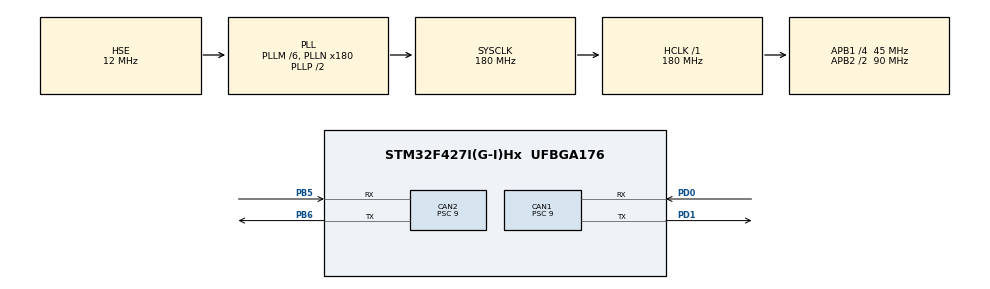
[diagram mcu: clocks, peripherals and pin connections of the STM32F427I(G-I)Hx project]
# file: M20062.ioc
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CAN1.ABOM=ENABLE
CAN1.BS1=CAN_BS1_2TQ
CAN1.BS2=CAN_BS2_2TQ
CAN1.CalculateBaudRate=1000000
CAN1.CalculateTimeBit=1000
CAN1.CalculateTimeQuantum=200.0
CAN1.Prescaler=9
CAN2.BS1=CAN_BS1_2TQ
CAN2.BS2=CAN_BS2_2TQ
CAN2.CalculateBaudRate=1000000
CAN2.CalculateTimeBit=1000
CAN2.CalculateTimeQuantum=200.0
CAN2.Prescaler=9
Mcu.Family=STM32F4
Mcu.Name=STM32F427I(G-I)Hx
Mcu.Package=UFBGA176
NVIC.CAN1_RX0_IRQn=true\:0\:0\:false\:false\:true\:true\:true\:true
NVIC.CAN1_RX1_IRQn=true\:0\:0\:false\:false\:true\:true\:true\:true
NVIC.PriorityGroup=NVIC_PRIORITYGROUP_4
NVIC.TIM2_IRQn=true\:0\:0\:false\:false\:true\:true\:true\:true
PA13.Mode=Serial_Wire
PA13.Signal=SYS_JTMS-SWDIO
PA14.Mode=Serial_Wire
PA14.Signal=SYS_JTCK-SWCLK
PB5.Mode=CAN_Activate
PB5.Signal=CAN2_RX
PB6.Mode=CAN_Activate
PB6.Signal=CAN2_TX
PD0.Mode=CAN_Activate
PD0.Signal=CAN1_RX
PD1.Mode=CAN_Activate
PD1.Signal=CAN1_TX
PH0/OSC_IN.Mode=HSE-External-Oscillator
PH0/OSC_IN.Signal=RCC_OSC_IN
PH1/OSC_OUT.Mode=HSE-External-Oscillator
PH1/OSC_OUT.Signal=RCC_OSC_OUT
ProjectManager.HeapSize=0x200
ProjectManager.StackSize=0x400
ProjectManager.TargetToolchain=STM32CubeIDE
RCC.48MHZClocksFreq_Value=90000000
RCC.AHBFreq_Value=180000000
RCC.APB1CLKDivider=RCC_HCLK_DIV4
RCC.APB1Freq_Value=45000000
RCC.APB1TimFreq_Value=90000000
RCC.APB2CLKDivider=RCC_HCLK_DIV2
RCC.APB2Freq_Value=90000000
RCC.APB2TimFreq_Value=180000000
RCC.CortexFreq_Value=180000000
RCC.HCLKFreq_Value=180000000
RCC.HSE_VALUE=12000000
RCC.HSI_VALUE=16000000
RCC.LSE_VALUE=32768
RCC.PLLM=6
RCC.PLLN=180
RCC.PLLSourceVirtual=RCC_PLLSOURCE_HSE
RCC.SYSCLKFreq_VALUE=180000000
RCC.SYSCLKSource=RCC_SYSCLKSOURCE_PLLCLK
RCC.VCOOutputFreq_Value=360000000
TIM2.Period=1000-1
TIM2.Prescaler=180-1
VP_TIM2_VS_ClockSourceINT.Mode=Internal
board=custom

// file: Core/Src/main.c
/* USER CODE BEGIN Header */
/**
  ******************************************************************************
  * @file           : main.c
  * @brief          : Main program body
  ******************************************************************************
  * @attention
  *
  * Copyright (c) 2024 STMicroelectronics.
  * All rights reserved.
  *
  * This software is licensed under terms that can be found in the LICENSE file
  * in the root directory of this software component.
  * If no LICENSE file comes with this software, it is provided AS-IS.
  *
  ******************************************************************************
  */
#define LIMIT_MIN_MAX(x,min,max) (x) = (((x)<=(min))?(min):(((x)>=(max))?(max):(x)))
/* USER CODE END Header */
#include "main.h"
#include "can.h"
#include "tim.h"
#include "gpio.h"

/* USER CODE BEGIN Includes */
#include "Bsp_can.h"
#include "pid.h"
/* USER CODE END Includes */

/* USER CODE BEGIN PV */
extern moto_info_t motor_info[MOTOR_MAX_NUM];
pid_struct_t motor_pid[7];
int target_speed[5];
int target_position[5];
int desired_speed[5]={10,10,10,10,10};
int last_angle[5];
int overflowNum[5] = {0,0,0,0,0};
int angle_sum[5];
pid_struct_t ver_pid[7];
pid_struct_t pos_pid[7];
/* USER CODE END PV */

void SystemClock_Config(void);

int main(void)
{

  /* MCU Configuration--------------------------------------------------------*/

  /* Reset of all peripherals, Initializes the Flash interface and the Systick. */
  HAL_Init();

  /* Configure the system clock */
  SystemClock_Config();

  /* Initialize all configured peripherals */
  MX_GPIO_Init();
  MX_CAN1_Init();
  MX_TIM2_Init();
  MX_CAN2_Init();
  /* USER CODE BEGIN 2 */
can_dual_init(&hcan1, &hcan2);

HAL_TIM_Base_Start_IT(&htim2);
//target_position = (motor_info[3].rotor_angle *(360.0/8191.0))/36;
  /* USER CODE END 2 */

  /* Infinite loop */
  /* USER CODE BEGIN WHILE */
  while (1)
  {

//	  set_motor_current(0x200, 0, 0, 500, 0);
//	  HAL_Delay(1);

    /* USER CODE END WHILE */

  }
}

void SystemClock_Config(void)
{
  RCC_OscInitTypeDef RCC_OscInitStruct = {0};
  RCC_ClkInitTypeDef RCC_ClkInitStruct = {0};

  /** Configure the main internal regulator output voltage
  */
  __HAL_RCC_PWR_CLK_ENABLE();
  __HAL_PWR_VOLTAGESCALING_CONFIG(PWR_REGULATOR_VOLTAGE_SCALE1);

  /** Initializes the RCC Oscillators according to the specified parameters
  * in the RCC_OscInitTypeDef structure.
  */
  RCC_OscInitStruct.OscillatorType = RCC_OSCILLATORTYPE_HSE;
  RCC_OscInitStruct.HSEState = RCC_HSE_ON;
  RCC_OscInitStruct.PLL.PLLState = RCC_PLL_ON;
  RCC_OscInitStruct.PLL.PLLSource = RCC_PLLSOURCE_HSE;
  RCC_OscInitStruct.PLL.PLLM = 6;
  RCC_OscInitStruct.PLL.PLLN = 180;
  RCC_OscInitStruct.PLL.PLLP = RCC_PLLP_DIV2;
  RCC_OscInitStruct.PLL.PLLQ = 4;
  if (HAL_RCC_OscConfig(&RCC_OscInitStruct) != HAL_OK)
  {
    Error_Handler();
  }

  /** Activate the Over-Drive mode
  */
  if (HAL_PWREx_EnableOverDrive() != HAL_OK)
  {
    Error_Handler();
  }

  /** Initializes the CPU, AHB and APB buses clocks
  */
  RCC_ClkInitStruct.ClockType = RCC_CLOCKTYPE_HCLK|RCC_CLOCKTYPE_SYSCLK
                              |RCC_CLOCKTYPE_PCLK1|RCC_CLOCKTYPE_PCLK2;
  RCC_ClkInitStruct.SYSCLKSource = RCC_SYSCLKSOURCE_PLLCLK;
  RCC_ClkInitStruct.AHBCLKDivider = RCC_SYSCLK_DIV1;
  RCC_ClkInitStruct.APB1CLKDivider = RCC_HCLK_DIV4;
  RCC_ClkInitStruct.APB2CLKDivider = RCC_HCLK_DIV2;

  if (HAL_RCC_ClockConfig(&RCC_ClkInitStruct, FLASH_LATENCY_5) != HAL_OK)
  {
    Error_Handler();
  }
}

/* USER CODE BEGIN 4 */
int flag = 1;
int flag_2 = 0;
void HAL_TIM_PeriodElapsedCallback(TIM_HandleTypeDef *htim)
{	if(flag_2 == 0)
	{
//		motor_reset();
		flag_2 = 1;
	}

	if(htim->Instance == htim2.Instance)
	{
//		target_position[3] = 5000;
//		desired_speed[3]=80;
    motor_calc_M2006(3,&angle_sum[3],&target_position[3],&target_speed[3],&desired_speed[3]);
    motor_calc_GM6020(0,&angle_sum[0],&target_position[0],&target_speed[0],&desired_speed[0]);

		if(flag == 2)
		{
//			target_position[3] = 2000;
//			desired_speed[3] = 80;
//			motor_info[3].set_current = Double_Loop_Control(angle_sum[3], target_position[3],target_speed[3] , desired_speed[3], M2006, M2006);
			flag = 1;
		}

//		set_motor_vaule(0x200, 0, 0, motor_info[3].set_current, 0);
//		delay_ms(10);
		set_motor_vaule(0x1ff,  motor_info[0].set_current, 0,0, 0);

		flag++;

	}
}

void motor_calc_M2006(int ID, int **angle_sumEx, int **target_positionEx, int **target_speedEx, int **desired_speedEx)
{
		*target_speedEx = motor_info[ID].rotor_speed / 36 ;

		*angle_sumEx = angle_calc_M2006(ID,motor_info[ID].rotor_angle);

		/**********************************************************/
		//过零处理
		if((motor_info[ID].rotor_angle - last_angle[ID]) <  -4096)
		    {
		    	 overflowNum[ID]++;
		    }
		    if((motor_info[ID].rotor_angle - last_angle[ID]) >  4096)
		    {
		    	overflowNum[ID]--;
		    }

		    last_angle[ID] = motor_info[ID].rotor_angle;

		/**********************************************************/
}

void motor_calc_GM6020(int ID, int **angle_sumEx, int **target_positionEx, int **target_speedEx, int **desired_speedEx)
{
		*target_speedEx = motor_info[ID].rotor_speed ;

		*angle_sumEx = angle_calc_GM6020(ID,motor_info[ID].rotor_angle);

		/**********************************************************/
		//过零处理
		if((motor_info[ID].rotor_angle - last_angle[ID]) <  -180)
		    {
		    	 overflowNum[ID]++;
		    }
		    if((motor_info[ID].rotor_angle - last_angle[ID]) >  180)
		    {
		    	overflowNum[ID]--;
		    }

		    last_angle[ID] = motor_info[ID].rotor_angle;

		/**********************************************************/
}

int angle_calc_M2006(int ID,int CNT)
{
	float  angle;

	angle = (overflowNum[ID] *360 + CNT * (360.0/8191.0))/36.0;

	return angle;
}

int angle_calc_GM6020(int ID,int CNT)
{
	float  angle;

	angle = (overflowNum[ID] *360 + CNT * (360.0/8191.0));

	return angle;
}

/*******************************************************************************************
  * @Brief    电机1顺时针转动90°
  * @Param		None
  * @Retval		None
  * @Date     2024/6/3
 *******************************************************************************************/
void motor1_control_cw_90(int ID)
{
	target_position[ID] += 90;
}

/*******************************************************************************************
  * @Brief    电机逆时针转动90°
  * @Param		None
  * @Retval		None
  * @Date     2024/6/3
 *******************************************************************************************/
void motor_control_aw_90(int ID)
{

}

void motor_reset() {
    // 设置期望速度为 {10, 10, 10, 10, 10}
    desired_speed[0] = 10;
    desired_speed[1] = 10;
    desired_speed[2] = 10;
    desired_speed[3] = 10;
    desired_speed[4] = 10;

    // 延时 500 毫秒
    delay_ms(500);

    // 设置期望速度为 {0, 0, 0, 0, 0}
    desired_speed[0] = 0;
    desired_speed[1] = 0;
    desired_speed[2] = 0;
    desired_speed[3] = 0;
    desired_speed[4] = 0;

    overflowNum[3] = 0;
}

void delay_ms(uint32_t milliseconds) {
    // 假设 CPU 频率为 180 MHz，每个循环大约需要 5.56 纳秒
    // 这个假设需要根据实际的硬件平台进行调整

    // 180 MHz 下的每个循环执行的指令数
    // (1 / 180 MHz) * 1000 = 5.56 纳秒
    // (1 ms / 5.56 纳秒) ≈ 180000 循环
    // 调整为适应不同的频率，这个值需要重新计算

    for (uint32_t i = 0; i < milliseconds; ++i) {
        for (volatile uint32_t j = 0; j < 180000; ++j) {
            // 空循环，消耗一些时间
        }
    }
}
/* USER CODE END 4 */

void Error_Handler(void)
{
  __disable_irq();
  while (1)
  {
  }
}
